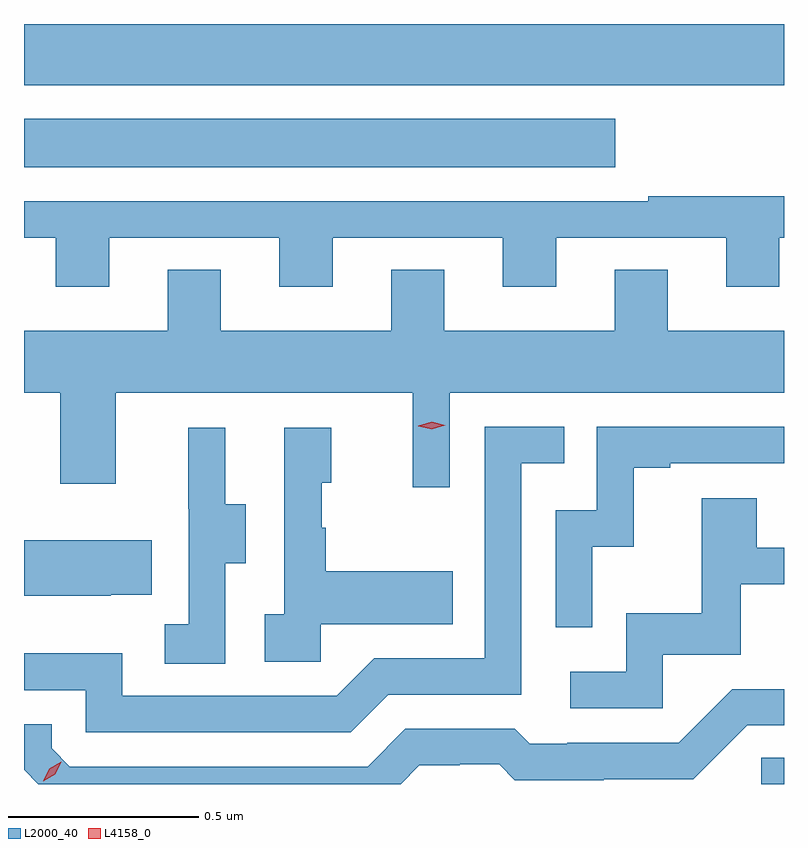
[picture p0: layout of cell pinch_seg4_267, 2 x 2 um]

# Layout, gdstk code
import gdstk
lib = gdstk.Library(unit=1e-6, precision=1e-09)
def R(c, l, rs):  # rectangles x0, y0, x1, y1
    for r in rs: c.add(gdstk.rectangle(r[:2], r[2:], *l))
def P(c, l, *ps):  # polygons
    for p in ps: c.add(gdstk.Polygon(p, *l))
L2000_40 = (2000, 40)
L4158_0 = (4158, 0)

pinch_seg4_267 = lib.new_cell('pinch_seg4_267')
R(pinch_seg4_267, L2000_40, [(947.779,823.763,947.839,823.832), (945.839,825.386,947.395,825.514), (945.839,825.602,947.839,825.763)])
P(pinch_seg4_267, L2000_40, [(946.063,825.201),(946.511,825.201),(946.511,825.072),(946.651,825.072),(946.651,825.201),(947.099,825.201),(947.099,825.072),(947.239,825.072),(947.239,825.201),(947.687,825.201),(947.687,825.072),(947.827,825.072),(947.827,825.2),(947.839,825.2),(947.839,825.31),(947.482,825.31),(947.482,825.297),(945.839,825.297),(945.839,825.201),(945.923,825.201),(945.923,825.072),(946.063,825.072)],
  [(946.959,824.792),(947.839,824.792),(947.839,824.956),(947.533,824.956),(947.533,825.116),(947.393,825.116),(947.393,824.956),(946.945,824.956),(946.945,825.116),(946.805,825.116),(946.805,824.956),(946.357,824.956),(946.357,825.116),(946.217,825.116),(946.217,824.956),(945.839,824.956),(945.839,824.792),(945.934,824.792),(945.934,824.553),(946.081,824.553),(946.081,824.792),(946.862,824.792),(946.862,824.544),(946.959,824.544)],
  [(946.798,823.998),(947.148,823.998),(947.148,824.607),(947.261,824.607),(947.261,824.703),(947.052,824.703),(947.052,824.094),(946.761,824.094),(946.662,823.995),(946.098,823.995),(946.098,824.107),(945.839,824.107),(945.839,824.01),(946.002,824.01),(946.002,823.899),(946.699,823.899)],
  [(947.334,824.387),(947.444,824.387),(947.444,824.595),(947.539,824.595),(947.539,824.607),(947.839,824.607),(947.839,824.703),(947.346,824.703),(947.346,824.484),(947.238,824.484),(947.238,824.175),(947.334,824.175)],
  [(946.368,824.344),(946.423,824.344),(946.423,824.499),(946.369,824.499),(946.369,824.701),(946.271,824.701),(946.271,824.487),(946.272,824.487),(946.272,824.183),(946.209,824.183),(946.209,824.08),(946.368,824.08)],
  [(946.62,824.183),(946.967,824.183),(946.967,824.323),(946.633,824.323),(946.633,824.438),(946.623,824.438),(946.623,824.556),(946.648,824.556),(946.648,824.701),(946.524,824.701),(946.524,824.21),(946.473,824.21),(946.473,824.085),(946.62,824.085)],
  [(947.52,824.103),(947.725,824.103),(947.725,824.289),(947.839,824.289),(947.839,824.385),(947.767,824.385),(947.767,824.515),(947.623,824.515),(947.623,824.212),(947.424,824.212),(947.424,824.058),(947.277,824.058),(947.277,823.962),(947.52,823.962)],
  [(946.067,824.261),(946.175,824.261),(946.175,824.404),(945.839,824.404),(945.839,824.258),(946.067,824.258)],
  [(946.879,823.812),(946.986,823.812),(946.986,823.815),(947.089,823.815),(947.131,823.773),(947.364,823.773),(947.364,823.775),(947.6,823.775),(947.742,823.917),(947.839,823.917),(947.839,824.013),(947.703,824.013),(947.562,823.872),(947.269,823.872),(947.269,823.869),(947.17,823.869),(947.131,823.908),(946.842,823.908),(946.743,823.809),(945.96,823.809),(945.912,823.857),(945.912,823.92),(945.839,823.92),(945.839,823.801),(945.877,823.763),(946.83,823.763)])
P(pinch_seg4_267, L4158_0, [(946.912,824.696),(946.877,824.705),(946.876,824.705),(946.877,824.706),(946.912,824.716),(946.947,824.707),(946.947,824.707),(946.947,824.707)],
  [(945.89,823.77),(945.89,823.77),(945.906,823.803),(945.937,823.822),(945.937,823.822),(945.937,823.822),(945.921,823.789),(945.89,823.77)])

lib.write_gds('pinch_seg4_267.gds')
